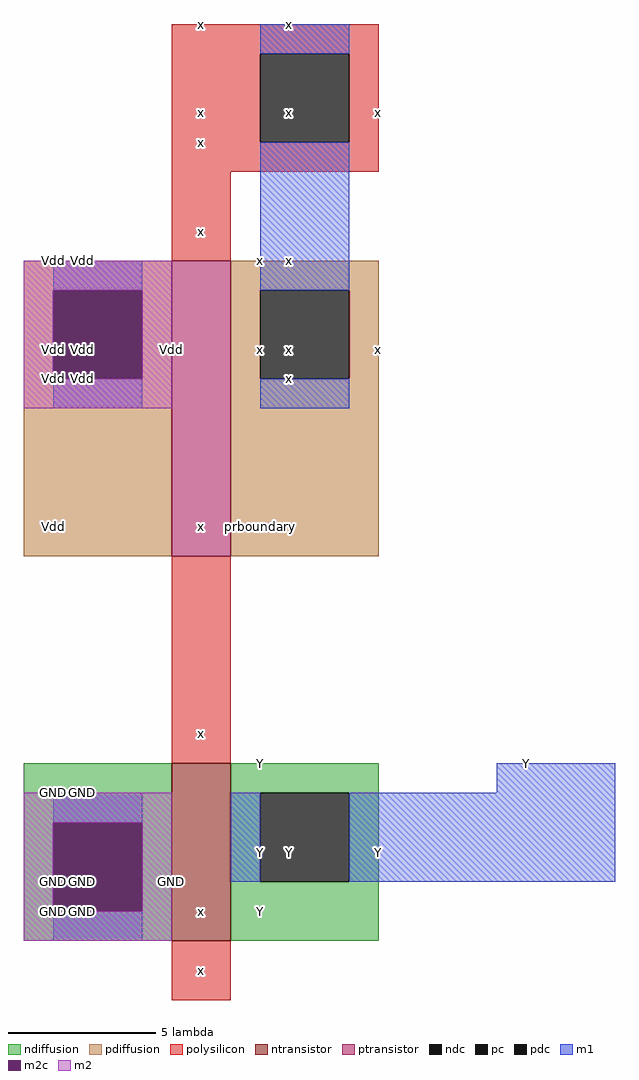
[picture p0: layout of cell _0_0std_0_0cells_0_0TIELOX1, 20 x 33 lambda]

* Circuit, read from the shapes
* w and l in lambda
.subckt _0_0std_0_0cells_0_0TIELOX1 Y
M1 Y x GND VSUBS nfet w=6 l=2
M2 x x Vdd NWELL pfet w=10 l=2
.ends

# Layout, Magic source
magic
tech sky130l
<< ndiffusion >>
rect 8 10 13 12
rect 8 7 9 10
rect 12 7 13 10
rect 8 6 13 7
rect 15 11 20 12
rect 15 8 16 11
rect 19 8 20 11
rect 15 6 20 8
<< ndc >>
rect 9 7 12 10
rect 16 8 19 11
<< ntransistor >>
rect 13 6 15 12
<< pdiffusion >>
rect 8 28 13 29
rect 8 25 9 28
rect 12 25 13 28
rect 8 19 13 25
rect 15 28 20 29
rect 15 25 16 28
rect 19 25 20 28
rect 15 19 20 25
<< pdc >>
rect 9 25 12 28
rect 16 25 19 28
<< ptransistor >>
rect 13 19 15 29
<< polysilicon >>
rect 13 36 20 37
rect 13 33 16 36
rect 19 33 20 36
rect 13 32 20 33
rect 13 29 15 32
rect 13 12 15 19
rect 13 4 15 6
<< pc >>
rect 16 33 19 36
<< m1 >>
rect 16 36 19 37
rect 9 28 12 29
rect 9 24 12 25
rect 16 28 19 33
rect 16 24 19 25
rect 24 11 28 12
rect 9 10 12 11
rect 15 8 16 11
rect 19 8 28 11
rect 9 6 12 7
<< m2c >>
rect 9 25 12 28
rect 9 7 12 10
<< m2 >>
rect 8 28 13 29
rect 8 25 9 28
rect 12 25 13 28
rect 8 24 13 25
rect 8 10 13 11
rect 8 7 9 10
rect 12 7 13 10
rect 8 6 13 7
<< labels >>
rlabel space 0 0 32 40 6 prboundary
rlabel pdiffusion 20 26 20 26 3 x
rlabel polysilicon 20 34 20 34 3 x
rlabel ndiffusion 16 7 16 7 3 Y
rlabel ndiffusion 16 12 16 12 3 Y
rlabel pdiffusion 16 20 16 20 3 x
rlabel pdiffusion 16 26 16 26 3 x
rlabel pdiffusion 16 29 16 29 3 x
rlabel polysilicon 14 5 14 5 3 x
rlabel ntransistor 14 7 14 7 3 x
rlabel polysilicon 14 13 14 13 3 x
rlabel ptransistor 14 20 14 20 3 x
rlabel polysilicon 14 30 14 30 3 x
rlabel polysilicon 14 33 14 33 3 x
rlabel polysilicon 14 34 14 34 3 x
rlabel polysilicon 14 37 14 37 3 x
rlabel pdiffusion 9 20 9 20 3 Vdd
rlabel m1 25 12 25 12 3 Y
port 1 e
rlabel m1 20 9 20 9 3 Y
port 1 e
rlabel ndc 17 9 17 9 3 Y
port 1 e
rlabel m1 17 25 17 25 3 x
rlabel pdc 17 26 17 26 3 x
rlabel m1 17 29 17 29 3 x
rlabel pc 17 34 17 34 3 x
rlabel m1 17 37 17 37 3 x
rlabel m1 16 9 16 9 3 Y
port 1 e
rlabel m1 10 7 10 7 3 GND
rlabel m1 10 11 10 11 3 GND
rlabel m1 10 25 10 25 3 Vdd
rlabel m1 10 29 10 29 3 Vdd
rlabel m2 13 8 13 8 3 GND
rlabel m2 13 26 13 26 3 Vdd
rlabel m2c 10 8 10 8 3 GND
rlabel m2c 10 26 10 26 3 Vdd
rlabel m2 9 7 9 7 3 GND
rlabel m2 9 8 9 8 3 GND
rlabel m2 9 11 9 11 3 GND
rlabel m2 9 25 9 25 3 Vdd
rlabel m2 9 26 9 26 3 Vdd
rlabel m2 9 29 9 29 3 Vdd
<< end >>
